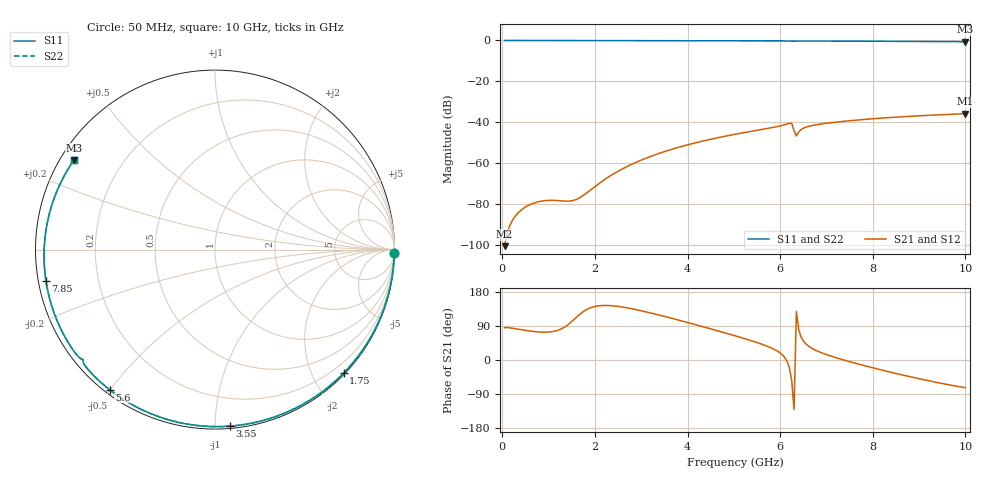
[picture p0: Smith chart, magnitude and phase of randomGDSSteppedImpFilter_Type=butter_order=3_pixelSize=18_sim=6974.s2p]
! freq	dB(S11)	phase(S11)	dB(S12)	phase(S12)
!  dB(S21)	phase(S21)	dB(S22)	phase(S22)
!S-par simulation data
#  GHz  S  DB  R 50
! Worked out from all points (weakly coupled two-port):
!   200 points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, 50 MHz to 10 GHz, reference 50 ohm
!   highest |S21| = -35.88 dB at 10 GHz (marker M1); lowest = -100.7 dB at 50 MHz (marker M2)
!   lowest |S11| = -0.6 dB at 10 GHz (marker M3), VSWR 27.98, Z = 1.94 + j14.5 ohm
!   |S11| at or under -10 dB: nowhere
!   |S22| runs from -0.6 to 0.0 dB; largest |S21 - S12| = 0
!   S11 on the Smith chart (normalised r, x): 50 MHz: 2, -93; 1.75 GHz: 0.02, -2.48; 3.55 GHz: 0.01, -1.09; 5.6 GHz: 0.01, -0.50; 7.85 GHz: 0.02, -0.09; 10 GHz: 0.04, +0.29
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0.05  -0.00 -1.2  -100.74 85.1  -100.74 85.1  -0.00 -1.2
0.6  -0.02 -15.3  -80.37 76.3  -80.37 76.3  -0.02 -15.3
0.75  -0.02 -19.1  -79.16 74.3  -79.16 74.3  -0.02 -19.1
1  -0.03 -25.4  -78.31 73.9  -78.31 73.9  -0.03 -25.4
1.45  -0.05 -36.6  -78.66 96.2  -78.66 96.2  -0.05 -36.6
1.6  -0.05 -40.2  -77.83 112.7  -77.83 112.7  -0.05 -40.2
1.75  -0.06 -43.9  -75.86 127.8  -75.86 127.8  -0.06 -43.9
2.5  -0.08 -61.6  -64.04 141.4  -64.04 141.4  -0.08 -61.7
2.9  -0.09 -70.8  -59.56 132.6  -59.56 132.6  -0.09 -70.8
3.4  -0.11 -81.9  -55.19 118.2  -55.19 118.2  -0.11 -81.9
3.55  -0.11 -85.2  -54.07 113.5  -54.07 113.5  -0.11 -85.2
4.3  -0.14 -101.0  -49.42 89.0  -49.42 89.0  -0.14 -101.0
5.05  -0.17 -116.2  -45.85 63.0  -45.85 63.0  -0.17 -116.2
5.6  -0.20 -127.0  -43.62 41.8  -43.62 41.8  -0.20 -127.0
6.25  -0.32 -139.8  -40.63 -55.4  -40.63 -55.4  -0.32 -139.8
6.35  -0.32 -140.9  -46.75 128.0  -46.75 128.0  -0.32 -140.9
6.45  -0.28 -142.9  -43.69 61.2  -43.69 61.2  -0.28 -142.9
6.7  -0.28 -147.7  -41.61 29.7  -41.61 29.7  -0.28 -147.7
7.85  -0.37 -169.5  -38.61 -15.8  -38.61 -15.8  -0.37 -169.5
8.35  -0.42 -179.1  -37.78 -31.2  -37.78 -31.2  -0.42 -179.1
9.2  -0.52 164.1  -36.67 -54.6  -36.67 -54.6  -0.52 164.2
10  -0.62 147.6  -35.88 -73.2  -35.88 -73.2  -0.62 147.6
